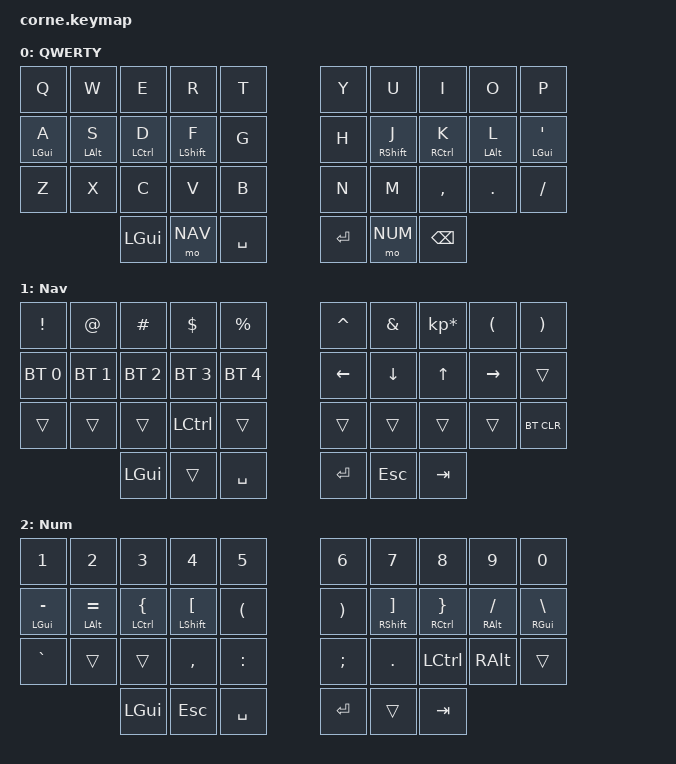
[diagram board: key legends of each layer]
/*
 * Copyright (c) 2020 The ZMK Contributors
 *
 * SPDX-License-Identifier: MIT
 */

#include <behaviors.dtsi>
#include <dt-bindings/zmk/keys.h>
#include <dt-bindings/zmk/bt.h>
#include <dt-bindings/zmk/behaviors.h>

#define QWERTY 0
#define NAV 1
#define NUM 2

/ {
    chosen {
        zmk,physical-layout = &foostan_corne_5col_layout;
    };

    behaviors {
        hrmr: home_row_mod_right {
            compatible = "zmk,behavior-hold-tap";
            label = "HOME_ROW_MOD_RIGHT";
            bindings = <&kp>, <&kp>;

            #binding-cells = <2>;
            tapping-term-ms = <280>;
            quick-tap-ms = <175>;
            require-prior-idle-ms = <100>;
            flavor = "balanced";
            hold-trigger-key-positions = <0 1 2 3 4 10 11 12 13 14 20 21 22 23 24 30 31 32>;
            hold-trigger-on-release;
        };

        hrml: home_row_mod_left {
            compatible = "zmk,behavior-hold-tap";
            label = "HOME_ROW_MOD_LEFT";
            bindings = <&kp>, <&kp>;

            #binding-cells = <2>;
            tapping-term-ms = <280>;
            quick-tap-ms = <175>;
            require-prior-idle-ms = <100>;
            flavor = "balanced";
            hold-trigger-key-positions = <5 6 7 8 9 15 16 17 18 19 25 26 27 28 29 33 34 35>;
            hold-trigger-on-release;
        };
    };

    keymap {
        compatible = "zmk,keymap";

        qwerty {
// -----------------------------------------------------------------------------------------
// |  Q  |  W  |  E  |  R  |  T  |     |  Y  |  U   |  I   |  O   | P  |
// |  A  |  S  |  D  |  F  |  G  |     |  H  |  J   |  K   |  L   | '" | 
// |  Z  |  X  |  C  |  V  |  B  |     |  N  |  M   | ,<   | .>   | /? |
//             | GUI | NAV | SPC |     | ENT | NUM  | BSPC |
            display-name = "QWERTY";
            bindings = <
   &kp Q        &kp W        &kp E         &kp R         &kp T           &kp Y   &kp U          &kp I             &kp O            &kp P
   &hrml LGUI A &hrml LALT S &hrml LCTRL D &hrml LSHFT F &kp G           &kp H   &hrmr RSHFT J  &hrmr RCTRL K     &hrmr LALT L     &hrmr LGUI SQT
   &kp Z        &kp X        &kp C         &kp V         &kp B           &kp N   &kp M          &kp COMMA         &kp DOT          &kp FSLH
                               &kp LGUI &mo NAV  &kp SPACE       &kp RET &mo NUM  &kp BSPC
            >;
        };

        navigation {
// -----------------------------------------------------------------------------------------
// | !     |  @  |  #  |  $  |  %  |     |  ^  |  &  |  *  |  (  |       |
// | BT1   | BT2 | BT3 | BT4 | BT5 |     | LFT | DWN |  UP | RGT |       |
// |       |     |     | CTRL|     |     |     |     |     |     | BTCLR |
//               | GUI |     | SPC |     | ENT | ESC | TAB |
            display-name = "Nav";
            bindings = <
   &kp EXCL     &kp AT       &kp HASH     &kp DLLR     &kp PRCNT        &kp CARET &kp AMPS  &kp KP_MULTIPLY &kp LPAR  &kp RPAR
   &bt BT_SEL 0 &bt BT_SEL 1 &bt BT_SEL 2 &bt BT_SEL 3 &bt BT_SEL 4     &kp LEFT  &kp DOWN  &kp UP          &kp RIGHT &trans 
   &trans       &trans       &trans       &kp LCTRL    &trans           &trans    &trans    &trans          &trans    &bt BT_CLR 
                                &kp LGUI     &trans    &kp SPACE        &kp RET   &kp ESC   &kp TAB
            >;
        };

        numbers {
// -----------------------------------------------------------------------------------------
// | 1! |  2@ |  3# |  4$ |  5% |     |  6^ |  7& |  8* |  9(  |  0  |
// | -_ |  =+ |  {  |  [  |  (  |     |    |  ]  |  }  |  /?  |  \|  |
// | `~ |     |     |  ,< |  :  |     |  ;  |  .> | CTRL| META |      |
//            | GUI | ESC | SPC |     | ENT |     | TAB |
            display-name = "Num";
            bindings = <

   &kp N1           &kp N2           &kp N3            &kp N4            &kp N5        &kp N6    &kp N7            &kp N8            &kp N9          &kp N0
   &hrml LGUI MINUS &hrml LALT EQUAL &hrml LCTRL LBRC  &hrml LSHFT LBKT  &kp LPAR      &kp RPAR  &hrmr RSHFT RBKT  &hrmr RCTRL RBRC  &hrmr RALT FSLH &hrmr RGUI BSLH
   &kp GRAVE        &trans           &trans            &kp COMMA         &kp COLON     &kp SEMI  &kp DOT           &kp LCTRL         &kp RALT        &trans
                                             &kp LGUI  &kp ESC   &kp SPACE     &kp RET   &trans    &kp TAB
            >;
        };
    };
};
